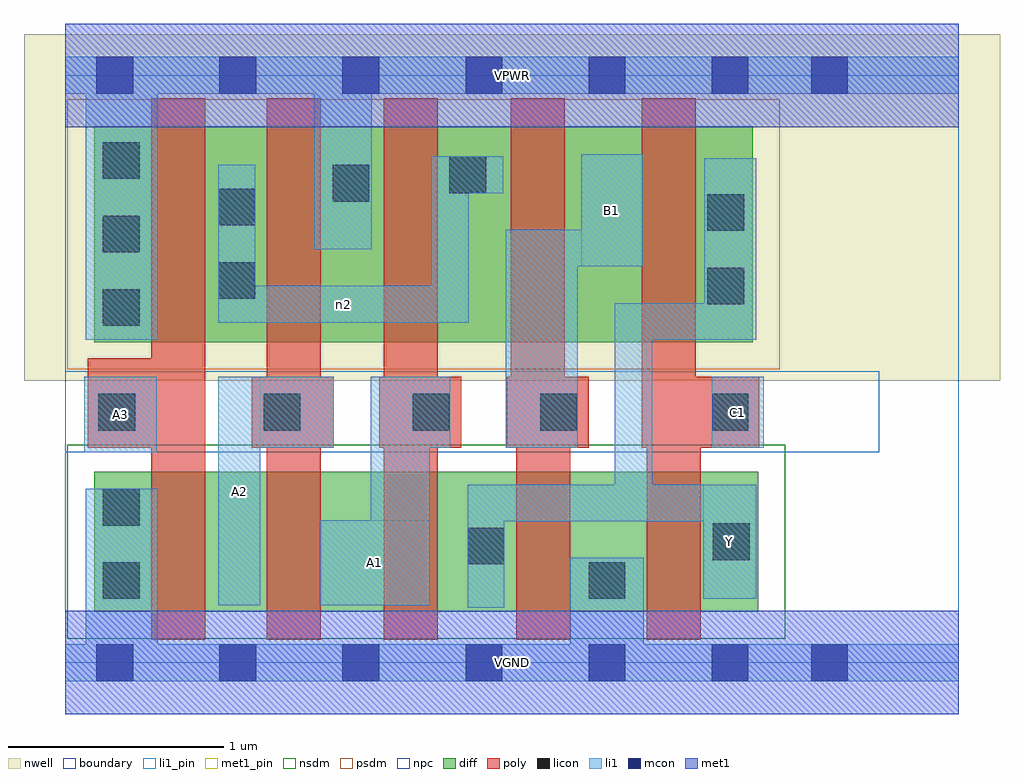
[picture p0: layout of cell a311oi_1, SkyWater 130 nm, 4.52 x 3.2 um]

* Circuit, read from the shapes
.subckt a311oi_1 A1 A2 A3 B1 C1 VGND VPWR Y n2
XM1 n1 A3 VGND VSUBS sky130_fd_pr__nfet_01v8 w=0.65 l=0.25
XM2 n3 A2 n1 VSUBS sky130_fd_pr__nfet_01v8 w=0.65 l=0.25
XM3 Y A1 n3 VSUBS sky130_fd_pr__nfet_01v8 w=0.65 l=0.25
XM4 VGND B1 Y VSUBS sky130_fd_pr__nfet_01v8 w=0.65 l=0.25
XM5 Y C1 VGND VSUBS sky130_fd_pr__nfet_01v8 w=0.65 l=0.25
XM6 n2 A3 VPWR n4 sky130_fd_pr__pfet_01v8 w=1 l=0.25
XM7 VPWR A2 n2 n4 sky130_fd_pr__pfet_01v8 w=1 l=0.25
XM8 n2 A1 VPWR n4 sky130_fd_pr__pfet_01v8 w=1 l=0.25
XM9 n5 B1 n2 n4 sky130_fd_pr__pfet_01v8 w=1 l=0.25
XM10 Y C1 n5 n4 sky130_fd_pr__pfet_01v8 w=1 l=0.25
.ends

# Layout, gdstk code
import gdstk
lib = gdstk.Library(unit=1e-6, precision=1e-09)
def R(c, l, rs):  # rectangles x0, y0, x1, y1
    for r in rs: c.add(gdstk.rectangle(r[:2], r[2:], *l))
def A(c, l, x, y, w, h, nx, ny, dx, dy):  # array of equal rectangles
    R(c, l, [(x+i*dx, y+j*dy, x+i*dx+w, y+j*dy+h) for i in range(nx) for j in range(ny)])
nwell = (64, 20)
diff = (65, 20)
poly = (66, 20)
licon = (66, 44)
li1_pin = (67, 16)
li1 = (67, 20)
mcon = (67, 44)
met1_pin = (68, 16)
met1 = (68, 20)
nsdm = (93, 44)
psdm = (94, 20)
npc = (95, 20)
boundary = (235, 4)

a311oi_1 = lib.new_cell('a311oi_1')
R(a311oi_1, nwell, [(-0.19,1.305,4.33,2.91), (0,1.305,4.14,2.91)])
R(a311oi_1, diff, [(0.135,0.235,3.21,0.885), (0.135,1.485,3.185,2.485)])
A(a311oi_1, poly, 0.865, 0.995, 0.38, 0.33, 3, 1, 0.59, 0)
R(a311oi_1, poly, [(0.4,0.105,0.65,2.615), (0.935,0.105,1.185,2.615), (1.475,0.105,1.725,2.615), (2.09,0.105,2.34,1.325), (2.695,0.105,2.945,1.325), (0.105,0.995,0.65,1.41), (2.065,0.995,2.315,2.615), (2.67,0.995,2.92,2.615), (2.67,0.995,3.215,1.325)])
A(a311oi_1, licon, 0.175, 1.56, 0.17, 0.17, 1, 3, 0, 0.34)
R(a311oi_1, licon, [(0.175,0.295,0.345,0.465), (2.425,0.295,2.595,0.465), (1.865,0.455,2.035,0.625), (3,0.475,3.17,0.645), (0.175,0.635,0.345,0.805), (0.155,1.075,0.325,1.245), (0.92,1.075,1.09,1.245), (1.61,1.075,1.78,1.245), (2.2,1.075,2.37,1.245), (2.995,1.075,3.165,1.245), (2.975,1.66,3.145,1.83), (0.71,1.685,0.88,1.855), (2.975,2,3.145,2.17), (0.71,2.025,0.88,2.195), (1.24,2.135,1.41,2.305), (1.78,2.175,1.95,2.345)])
R(a311oi_1, li1_pin, [(0.71,0.265,0.905,1.325), (1.18,0.265,1.69,0.66), (2.955,0.295,3.2,0.825), (0.09,0.975,0.425,1.325), (2.995,0.995,3.235,1.325), (2.39,1.835,2.675,2.355)])
R(a311oi_1, li1, [(0,-0.085,4.14,0.085), (0.095,-0.085,0.43,0.805), (2.34,-0.085,2.68,0.485), (1.865,0.255,2.035,0.825), (0.71,0.265,0.905,1.325), (1.18,0.265,1.69,0.66), (1.415,0.265,1.69,1.325), (2.955,0.295,3.2,0.825), (1.865,0.655,3.2,0.825), (2.545,0.655,2.72,1.665), (0.09,0.975,0.425,1.325), (0.71,0.995,1.245,1.325), (1.415,0.995,1.785,1.325), (2.04,0.995,2.375,2.005), (2.995,0.995,3.235,1.325), (0.095,1.495,0.43,2.805), (2.545,1.495,3.2,1.665), (2.96,1.495,3.2,2.335), (0.71,1.575,1.87,1.745), (0.71,1.575,0.88,2.305), (1.695,1.575,1.87,2.345), (2.04,1.835,2.675,2.005), (2.39,1.835,2.675,2.355), (1.155,1.915,1.42,2.805), (1.695,2.175,2.03,2.345), (0,2.635,4.14,2.805)])
A(a311oi_1, mcon, 0.145, -0.085, 0.17, 0.17, 6, 2, 0.57, 2.72)
R(a311oi_1, mcon, [(3.455,-0.085,3.625,0.085), (3.455,2.635,3.625,2.805)])
R(a311oi_1, met1_pin, [(0,-0.24,4.14,0.24), (0,2.48,4.14,2.96)])
R(a311oi_1, met1, [(0,-0.24,4.14,0.24), (0,2.48,4.14,2.96)])
R(a311oi_1, nsdm, [(0.01,0.11,3.335,1.01)])
R(a311oi_1, psdm, [(0.01,1.36,3.31,2.61)])
R(a311oi_1, npc, [(0,0.975,3.77,1.35)])
R(a311oi_1, boundary, [(0,0,4.14,2.72)])
a311oi_1.add(gdstk.Label('A1', (1.435,0.462), layer=67, texttype=5))
a311oi_1.add(gdstk.Label('A2', (0.807,0.795), layer=67, texttype=5))
a311oi_1.add(gdstk.Label('A3', (0.257,1.15), layer=67, texttype=5))
a311oi_1.add(gdstk.Label('B1', (2.532,2.095), layer=67, texttype=5))
a311oi_1.add(gdstk.Label('C1', (3.115,1.16), layer=67, texttype=5))
a311oi_1.add(gdstk.Label('Y', (3.077,0.56), layer=67, texttype=5))
a311oi_1.add(gdstk.Label('n2', (1.29,1.66), layer=67, texttype=5))
a311oi_1.add(gdstk.Label('VPWR', (2.07,2.72), layer=68, texttype=5))
a311oi_1.add(gdstk.Label('VGND', (2.07,0), layer=68, texttype=5))
a311oi_1.add(gdstk.Label('A1', (1.435,0.462), layer=67, texttype=16))
a311oi_1.add(gdstk.Label('A2', (0.807,0.795), layer=67, texttype=16))
a311oi_1.add(gdstk.Label('A3', (0.257,1.15), layer=67, texttype=16))
a311oi_1.add(gdstk.Label('B1', (2.532,2.095), layer=67, texttype=16))
a311oi_1.add(gdstk.Label('C1', (3.115,1.16), layer=67, texttype=16))
a311oi_1.add(gdstk.Label('Y', (3.077,0.56), layer=67, texttype=16))
a311oi_1.add(gdstk.Label('VPWR', (2.07,2.72), layer=68, texttype=16))
a311oi_1.add(gdstk.Label('VGND', (2.07,0), layer=68, texttype=16))

lib.write_gds('a311oi_1.gds')
